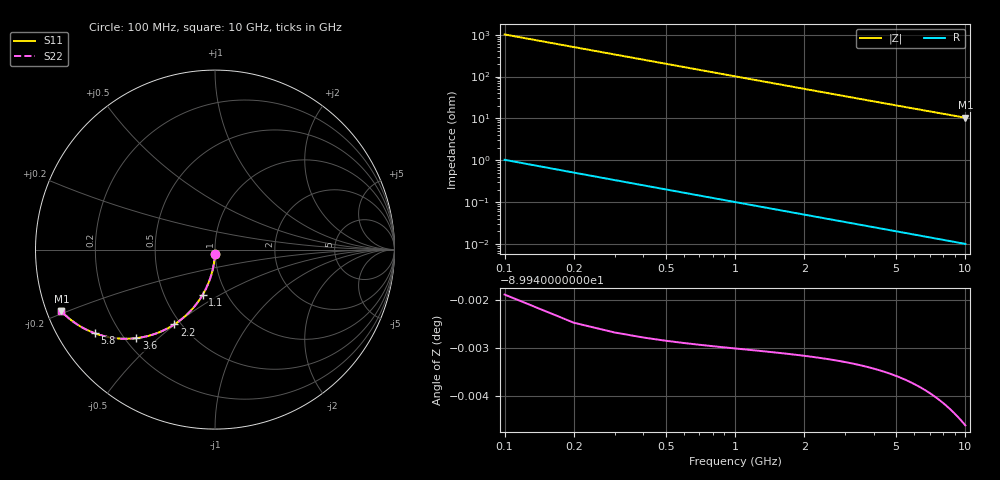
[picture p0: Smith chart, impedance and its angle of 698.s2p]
# Hz S RI R 50.00
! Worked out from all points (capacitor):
!   100 points, 100 MHz to 10 GHz, reference 50 ohm
!   read as one part in shunt: C = 1.57 pF near 100 MHz
!   lowest |Z| = 10.4 ohm at 10 GHz (marker M1)
!   S11 on the Smith chart (normalised r, x): 100 MHz: 1.00, -0.05; 1.1 GHz: 0.77, -0.42; 2.2 GHz: 0.46, -0.50; 3.6 GHz: 0.24, -0.43; 5.8 GHz: 0.11, -0.31; 10 GHz: 0.04, -0.19
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1e8  -0.000625 -0.0246  0.9994 -0.0248  0.9994 -0.0248  -0.000625 -0.0246
2e8  -0.00248 -0.0492  0.9975 -0.0494  0.9975 -0.0494  -0.00248 -0.0492
3e8  -0.00553 -0.0735  0.9945 -0.0739  0.9945 -0.0739  -0.00553 -0.0735
4e8  -0.00976 -0.0976  0.9902 -0.0981  0.9902 -0.0981  -0.00976 -0.0976
5e8  -0.0151 -0.1213  0.9848 -0.122  0.9848 -0.122  -0.0151 -0.1213
6e8  -0.0216 -0.1446  0.9784 -0.1454  0.9784 -0.1454  -0.0216 -0.1446
7e8  -0.0292 -0.1674  0.9708 -0.1683  0.9708 -0.1683  -0.0292 -0.1674
9e8  -0.0472 -0.2111  0.9527 -0.2122  0.9527 -0.2122  -0.0472 -0.2111
1.1e9  -0.0688 -0.252  0.9311 -0.2534  0.9311 -0.2534  -0.0688 -0.252
1.4e9  -0.1068 -0.3074  0.8932 -0.3092  0.8932 -0.3092  -0.1068 -0.3074
1.8e9  -0.1646 -0.3692  0.8353 -0.3715  0.8353 -0.3715  -0.1646 -0.3692
2.2e9  -0.227 -0.417  0.7729 -0.4198  0.7729 -0.4198  -0.227 -0.417
2.8e9  -0.3217 -0.4648  0.6782 -0.4684  0.6782 -0.4684  -0.3217 -0.4648
3.4e9  -0.4109 -0.4893  0.5891 -0.4937  0.5891 -0.4937  -0.4109 -0.4893
3.6e9  -0.4386 -0.4934  0.5614 -0.498  0.5614 -0.498  -0.4386 -0.4934
4.3e9  -0.5264 -0.496  0.4736 -0.5016  0.4736 -0.5016  -0.5264 -0.496
5.1e9  -0.6092 -0.4841  0.3907 -0.4908  0.3907 -0.4908  -0.6092 -0.4841
5.8e9  -0.668 -0.4666  0.3319 -0.4742  0.3319 -0.4742  -0.668 -0.4666
6.7e9  -0.7282 -0.4399  0.2717 -0.4488  0.2717 -0.4488  -0.7282 -0.4399
7.5e9  -0.7702 -0.4152  0.2297 -0.4251  0.2297 -0.4251  -0.7702 -0.4152
8.4e9  -0.8077 -0.388  0.1922 -0.3992  0.1922 -0.3992  -0.8077 -0.388
1e10  -0.856 -0.3438  0.1439 -0.3572  0.1439 -0.3572  -0.856 -0.3438
